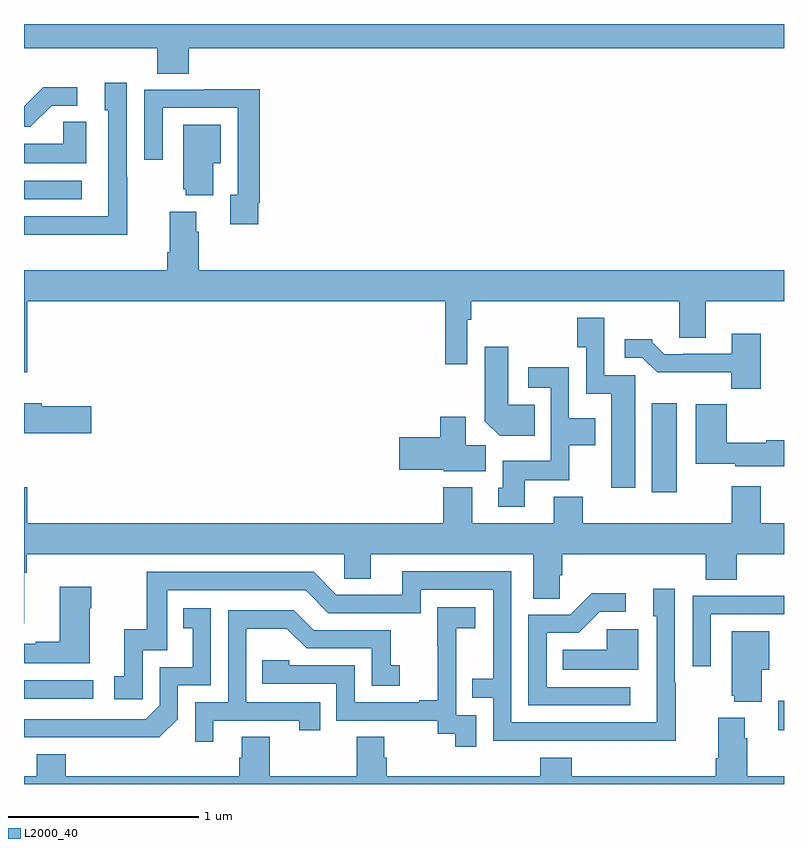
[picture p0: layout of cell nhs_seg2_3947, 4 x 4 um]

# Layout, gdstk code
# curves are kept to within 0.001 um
import gdstk
lib = gdstk.Library(unit=1e-6, precision=1e-09)
def R(c, l, rs):  # rectangles x0, y0, x1, y1
    for r in rs: c.add(gdstk.rectangle(r[:2], r[2:], *l))
def P(c, l, *ps):  # polygons
    for p in ps: c.add(gdstk.Polygon(p, *l))
L2000_40 = (2000, 40)

nhs_seg2_3947 = lib.new_cell('nhs_seg2_3947')
R(nhs_seg2_3947, L2000_40, [(324.971,608.082,325,608.238), (321,608.25,321.364,608.346), (324.305,609.336,324.436,609.805), (321,610.878,321.304,610.974)])
P(nhs_seg2_3947, L2000_40, [(321.866,611.672),(325,611.672),(325,611.8),(321,611.8),(321,611.672),(321.701,611.672),(321.701,611.539),(321.866,611.539)],
  [(321.543,610.997),(321.54,610.997),(321.54,611.491),(321.425,611.491),(321.425,611.346),(321.444,611.346),(321.444,610.788),(321,610.788),(321,610.692),(321.079,610.692),(321.079,610.691),(321.543,610.691)],
  [(321.145,611.37),(321.28,611.37),(321.28,611.468),(321.101,611.468),(321,611.367),(321,611.259),(321.034,611.259)],
  [(322.234,610.858),(322.241,610.858),(322.241,611.456),(321.949,611.456),(321.949,611.454),(321.633,611.454),(321.633,611.085),(321.729,611.085),(321.729,611.358),(322.125,611.358),(322.125,610.902),(322.085,610.902),(322.085,610.746),(322.234,610.746)],
  [(321.328,611.285),(321.207,611.285),(321.207,611.17),(321,611.17),(321,611.066),(321.328,611.066)],
  [(321.997,611.066),(322.036,611.066),(322.036,611.269),(321.839,611.269),(321.839,610.929),(321.851,610.929),(321.851,610.898),(321.997,610.898)],
  [(321.016,610.34),(323.218,610.34),(323.218,610.008),(323.334,610.008),(323.334,610.244),(323.354,610.244),(323.354,610.34),(324.449,610.34),(324.449,610.15),(324.589,610.15),(324.589,610.34),(325,610.34),(325,610.504),(321.92,610.504),(321.92,610.706),(321.907,610.706),(321.907,610.813),(321.767,610.813),(321.767,610.6),(321.755,610.6),(321.755,610.504),(321,610.504),(321,609.966),(321.016,609.966)],
  [(324.217,609.951),(324.054,609.951),(324.054,610.255),(323.911,610.255),(323.911,610.099),(323.958,610.099),(323.958,609.854),(324.092,609.854),(324.092,609.36),(324.217,609.36)],
  [(324.878,610.171),(324.725,610.171),(324.725,610.065),(324.469,610.065),(324.469,610.062),(324.37,610.062),(324.306,610.126),(324.306,610.141),(324.162,610.141),(324.162,610.044),(324.255,610.044),(324.334,609.966),(324.723,609.966),(324.723,609.881),(324.878,609.881)],
  [(323.687,609.796),(323.548,609.796),(323.548,610.102),(323.426,610.102),(323.426,609.71),(323.504,609.632),(323.687,609.632)],
  [(323.635,609.398),(323.871,609.398),(323.871,609.584),(324.007,609.584),(324.007,609.724),(323.868,609.724),(323.868,609.994),(323.655,609.994),(323.655,609.885),(323.772,609.885),(323.772,609.502),(323.519,609.502),(323.519,609.36),(323.495,609.36),(323.495,609.258),(323.635,609.258)],
  [(321.355,609.788),(321.094,609.788),(321.094,609.805),(321,609.805),(321,609.646),(321.355,609.646)],
  [(325,609.608),(324.906,609.608),(324.906,609.595),(324.698,609.595),(324.698,609.799),(324.536,609.799),(324.536,609.485),(324.744,609.485),(324.744,609.473),(325,609.473)],
  [(323.431,609.584),(323.326,609.584),(323.326,609.733),(323.192,609.733),(323.192,609.626),(322.974,609.626),(322.974,609.455),(323.208,609.455),(323.208,609.446),(323.431,609.446)],
  [(321.001,608.912),(321.014,608.912),(321.014,609.008),(322.686,609.008),(322.686,608.881),(322.825,608.881),(322.825,609.008),(323.681,609.008),(323.681,608.776),(323.82,608.776),(323.82,608.899),(323.834,608.899),(323.834,609.008),(324.587,609.008),(324.587,608.875),(324.752,608.875),(324.752,609.008),(325,609.008),(325,609.172),(324.878,609.172),(324.878,609.367),(324.725,609.367),(324.725,609.172),(323.942,609.172),(323.942,609.313),(323.789,609.313),(323.789,609.172),(323.359,609.172),(323.359,609.361),(323.207,609.361),(323.207,609.172),(321.016,609.172),(321.016,609.361),(321,609.361),(321,608.646),(321.001,608.646)],
  [(324.429,608.333),(324.426,608.333),(324.426,608.827),(324.311,608.827),(324.311,608.682),(324.33,608.682),(324.329,608.124),(323.565,608.124),(323.565,608.919),(322.991,608.919),(322.991,608.796),(322.644,608.796),(322.524,608.916),(321.645,608.916),(321.645,608.614),(321.527,608.614),(321.527,608.367),(321.474,608.367),(321.474,608.247),(321.624,608.247),(321.624,608.505),(321.753,608.505),(321.753,608.82),(322.482,608.82),(322.602,608.7),(323.088,608.7),(323.088,608.823),(323.469,608.823),(323.469,608.354),(323.359,608.354),(323.359,608.253),(323.469,608.253),(323.469,608.028),(324.429,608.027)],
  [(321.346,608.726),(321.354,608.726),(321.354,608.839),(321.188,608.839),(321.188,608.549),(321.062,608.549),(321.062,608.539),(321,608.539),(321,608.435),(321.346,608.435)],
  [(324.19,608.31),(323.751,608.31),(323.751,608.595),(323.92,608.595),(324.031,608.706),(324.166,608.706),(324.166,608.804),(323.987,608.804),(323.874,608.691),(323.655,608.691),(323.655,608.214),(324.19,608.214)],
  [(324.615,608.694),(325,608.694),(325,608.792),(324.835,608.792),(324.835,608.79),(324.519,608.79),(324.519,608.421),(324.615,608.421)],
  [(323.379,608.163),(323.274,608.163),(323.274,608.393),(323.276,608.393),(323.276,608.621),(323.374,608.621),(323.374,608.731),(323.176,608.731),(323.176,608.525),(323.177,608.525),(323.177,608.242),(323.081,608.242),(323.081,608.229),(322.74,608.229),(322.74,608.424),(322.395,608.424),(322.395,608.451),(322.255,608.451),(322.255,608.328),(322.644,608.328),(322.644,608.133),(323.178,608.133),(323.178,608.065),(323.271,608.065),(323.271,607.995),(323.379,607.995)],
  [(321.81,608.142),(321.81,608.319),(321.984,608.319),(321.984,608.725),(321.838,608.725),(321.838,608.619),(321.887,608.619),(321.887,608.415),(321.714,608.415),(321.714,608.214),(321.642,608.142),(321,608.142),(321,608.046),(321.712,608.045)],
  [(321.997,608.133),(322.448,608.133),(322.448,608.082),(322.559,608.082),(322.559,608.229),(322.17,608.229),(322.17,608.618),(322.384,608.618),(322.488,608.514),(322.83,608.514),(322.83,608.316),(322.978,608.316),(322.978,608.425),(322.929,608.425),(322.929,608.61),(322.525,608.61),(322.42,608.715),(322.074,608.715),(322.074,608.229),(321.9,608.229),(321.9,608.022),(321.997,608.022)],
  [(324.232,608.614),(324.067,608.614),(324.067,608.506),(323.836,608.506),(323.836,608.402),(324.232,608.402)],
  [(324.883,608.402),(324.922,608.402),(324.922,608.605),(324.725,608.605),(324.725,608.265),(324.737,608.265),(324.737,608.234),(324.883,608.234)],
  [(325,607.84),(324.806,607.84),(324.806,608.042),(324.793,608.042),(324.793,608.149),(324.653,608.149),(324.653,607.936),(324.641,607.936),(324.641,607.84),(323.882,607.84),(323.882,607.939),(323.717,607.939),(323.717,607.84),(322.91,607.84),(322.91,607.938),(322.897,607.938),(322.897,608.048),(322.75,608.048),(322.75,607.84),(322.293,607.84),(322.293,608.048),(322.145,608.048),(322.145,607.938),(322.133,607.938),(322.133,607.84),(321.221,607.84),(321.221,607.957),(321.068,607.957),(321.068,607.84),(321,607.84),(321,607.8),(325,607.8)])

lib.write_gds('nhs_seg2_3947.gds')
